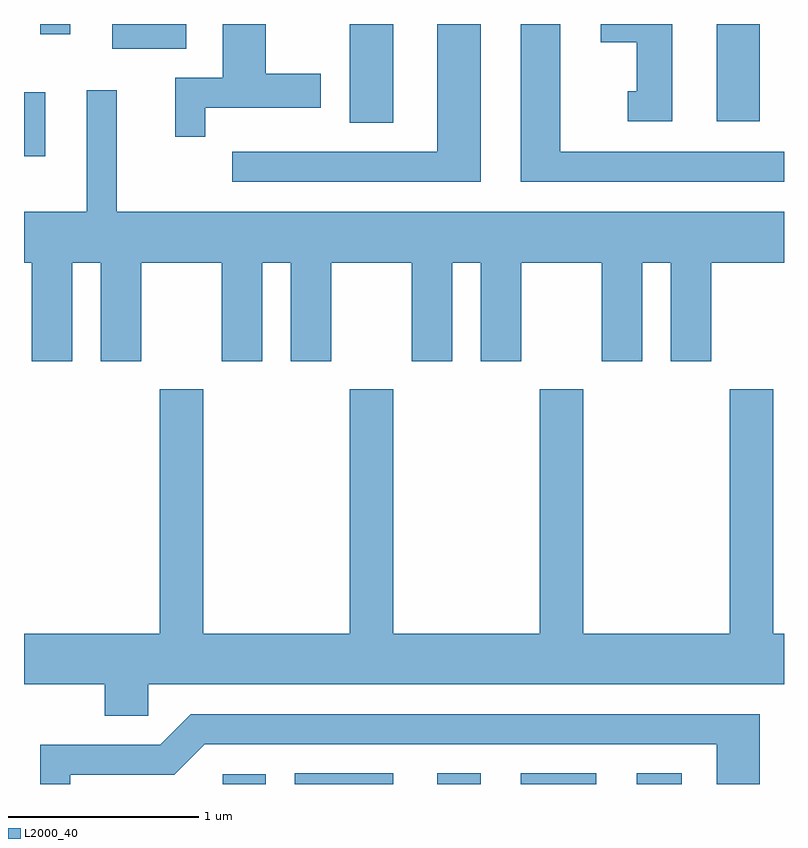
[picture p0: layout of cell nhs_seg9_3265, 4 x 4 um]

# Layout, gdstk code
import gdstk
lib = gdstk.Library(unit=1e-6, precision=1e-09)
def R(c, l, rs):  # rectangles x0, y0, x1, y1
    for r in rs: c.add(gdstk.rectangle(r[:2], r[2:], *l))
def P(c, l, *ps):  # polygons
    for p in ps: c.add(gdstk.Polygon(p, *l))
L2000_40 = (2000, 40)

nhs_seg9_3265 = lib.new_cell('nhs_seg9_3265')
R(nhs_seg9_3265, L2000_40, [(282.656,1962.432,282.884,1962.484), (283.036,1962.432,283.554,1962.489), (283.786,1962.432,284.014,1962.489), (284.226,1962.432,284.623,1962.489), (284.836,1962.432,285.073,1962.489), (281.611,1965.736,281.724,1966.074), (283.326,1965.911,283.554,1966.432), (285.256,1965.921,285.484,1966.432), (282.076,1966.301,282.464,1966.432), (281.696,1966.378,281.854,1966.432)])
P(nhs_seg9_3265, L2000_40, [(282.564,1965.991),(283.174,1965.991),(283.174,1966.169),(282.884,1966.169),(282.884,1966.432),(282.656,1966.432),(282.656,1966.149),(282.406,1966.149),(282.406,1965.838),(282.564,1965.838)],
  [(285.024,1966.432),(284.646,1966.432),(284.646,1966.336),(284.836,1966.336),(284.836,1966.079),(284.788,1966.079),(284.788,1965.921),(285.024,1965.921)],
  [(285.611,1965.759),(284.434,1965.759),(284.434,1966.432),(284.226,1966.432),(284.226,1965.601),(285.611,1965.601)],
  [(284.014,1966.432),(283.786,1966.432),(283.786,1965.759),(282.708,1965.759),(282.708,1965.601),(284.014,1965.601)],
  [(281.864,1965.176),(282.016,1965.176),(282.016,1964.656),(282.229,1964.656),(282.229,1965.176),(282.651,1965.176),(282.651,1964.656),(282.864,1964.656),(282.864,1965.176),(283.016,1965.176),(283.016,1964.656),(283.229,1964.656),(283.229,1965.176),(283.651,1965.176),(283.651,1964.656),(283.864,1964.656),(283.864,1965.176),(284.016,1965.176),(284.016,1964.656),(284.229,1964.656),(284.229,1965.176),(284.651,1965.176),(284.651,1964.656),(284.864,1964.656),(284.864,1965.176),(285.016,1965.176),(285.016,1964.656),(285.229,1964.656),(285.229,1965.176),(285.611,1965.176),(285.611,1965.444),(282.099,1965.444),(282.099,1966.083),(281.941,1966.083),(281.941,1965.444),(281.611,1965.444),(281.611,1965.176),(281.651,1965.176),(281.651,1964.656),(281.864,1964.656)],
  [(281.611,1962.956),(282.036,1962.956),(282.036,1962.791),(282.264,1962.791),(282.264,1962.956),(285.611,1962.956),(285.611,1963.224),(285.554,1963.224),(285.554,1964.509),(285.326,1964.509),(285.326,1963.224),(284.554,1963.224),(284.554,1964.509),(284.326,1964.509),(284.326,1963.224),(283.554,1963.224),(283.554,1964.509),(283.326,1964.509),(283.326,1963.224),(282.554,1963.224),(282.554,1964.509),(282.326,1964.509),(282.326,1963.224),(281.611,1963.224)],
  [(281.854,1962.481),(282.402,1962.481),(282.562,1962.641),(285.256,1962.641),(285.256,1962.432),(285.484,1962.432),(285.484,1962.799),(282.489,1962.799),(282.329,1962.639),(281.696,1962.639),(281.696,1962.432),(281.854,1962.432)])

lib.write_gds('nhs_seg9_3265.gds')
